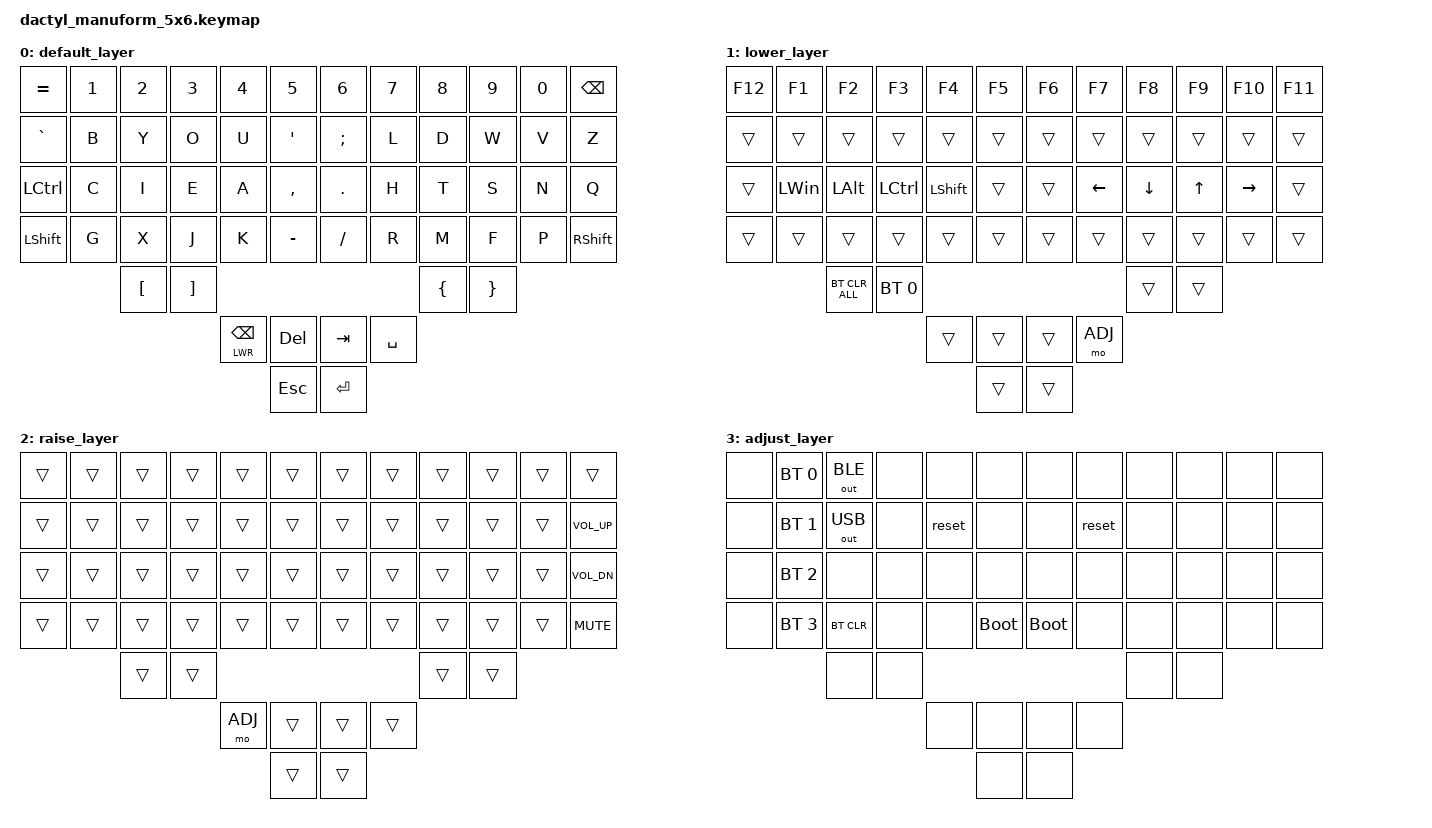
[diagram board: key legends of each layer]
#include <behaviors.dtsi>
#include <dt-bindings/zmk/bt.h>
#include <dt-bindings/zmk/keys.h>
#include <dt-bindings/zmk/outputs.h>

#define DEFAULT 0
#define LWR 1
#define RSE 2
#define ADJ 3

/ {
    keymap {
        compatible = "zmk,keymap";

        default_layer {
            bindings = <
&kp EQUAL       &kp N1  &kp N2    &kp N3    &kp N4             &kp N5        &kp N6         &kp N7     &kp N8          &kp N9           &kp N0  &kp BSPC
&kp GRAVE       &kp B   &kp Y     &kp O     &kp U              &kp SQT       &kp SEMICOLON  &kp L      &kp D           &kp W            &kp V   &kp Z
&kp LCTRL       &kp C   &kp I     &kp E     &kp A              &kp COMMA     &kp PERIOD     &kp H      &kp T           &kp S            &kp N   &kp Q
&kp LEFT_SHIFT  &kp G   &kp X     &kp J     &kp K              &kp MINUS     &kp SLASH      &kp R      &kp M           &kp F            &kp P   &kp RIGHT_SHIFT
                        &kp LBKT  &kp RBKT                                                             &kp LEFT_BRACE  &kp RIGHT_BRACE
                                            &lt LWR BACKSPACE  &kp DELETE    &kp TAB        &kp SPACE
                                                               &kp ESCAPE    &kp ENTER
            >;
        };

        lower_layer {
            bindings = <
&kp F12  &kp F1        &kp F2          &kp F3        &kp F4          &kp F5    &kp F6  &kp F7    &kp F8    &kp F9  &kp F10    &kp F11
&trans   &trans        &trans          &trans        &trans          &trans    &trans  &trans    &trans    &trans  &trans     &trans
&trans   &kp LEFT_WIN  &kp LEFT_ALT    &kp LCTRL     &kp LEFT_SHIFT  &trans    &trans  &kp LEFT  &kp DOWN  &kp UP  &kp RIGHT  &trans
&trans   &trans        &trans          &trans        &trans          &trans    &trans  &trans    &trans    &trans  &trans     &trans
                       &bt BT_CLR_ALL  &bt BT_SEL 0                                              &trans    &trans
                                                     &trans          &trans    &trans  &mo ADJ
                                                                     &trans    &trans
            >;
        };

        raise_layer {
            bindings = <
&trans  &trans  &trans  &trans  &trans   &trans    &trans  &trans  &trans  &trans  &trans  &trans
&trans  &trans  &trans  &trans  &trans   &trans    &trans  &trans  &trans  &trans  &trans  &kp K_VOL_UP
&trans  &trans  &trans  &trans  &trans   &trans    &trans  &trans  &trans  &trans  &trans  &kp K_VOL_DN
&trans  &trans  &trans  &trans  &trans   &trans    &trans  &trans  &trans  &trans  &trans  &kp K_MUTE
                &trans  &trans                                     &trans  &trans
                                &mo ADJ  &trans    &trans  &trans
                                         &trans    &trans
            >;
        };

        adjust_layer {
            bindings = <
&none  &bt BT_SEL 0  &out OUT_BLE  &none  &none   &none          &none        &none   &none  &none  &none  &none
&none  &bt BT_SEL 1  &out OUT_USB  &none  &reset  &none          &none        &reset  &none  &none  &none  &none
&none  &bt BT_SEL 2  &none         &none  &none   &none          &none        &none   &none  &none  &none  &none
&none  &bt BT_SEL 3  &bt BT_CLR    &none  &none   &bootloader    &bootloader  &none   &none  &none  &none  &none
                     &none         &none                                              &none  &none
                                          &none   &none          &none        &none
                                                  &none          &none
            >;
        };
    };
};
